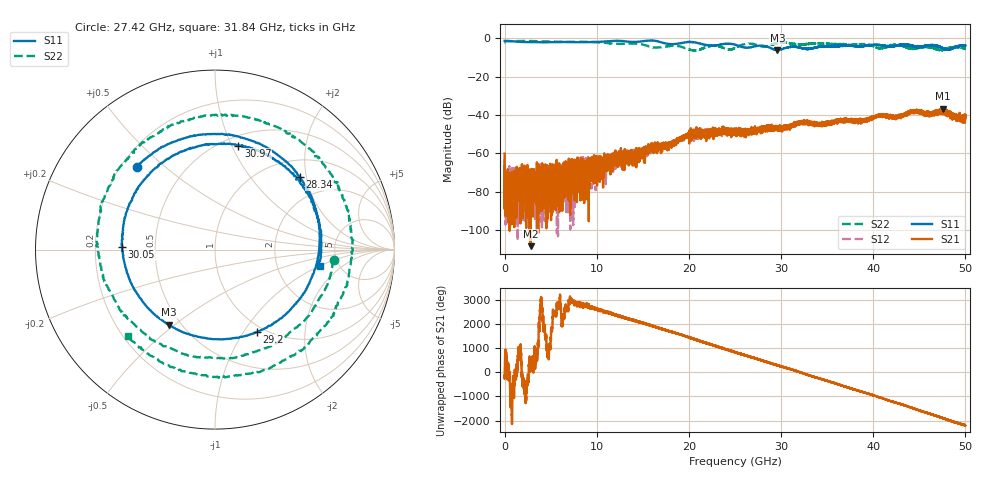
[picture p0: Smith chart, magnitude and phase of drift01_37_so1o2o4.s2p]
!Created with skrf (http://scikit-rf.org).
# Hz S RI R 50.0
!freq ReS11 ImS11 ReS21 ImS21 ReS12 ImS12 ReS22 ImS22
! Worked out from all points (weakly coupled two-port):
!   10001 points, 300 kHz to 50 GHz, reference 50 ohm
!   highest |S21| = -36.78 dB at 47.53 GHz (marker M1); lowest = -108.4 dB at 2.825 GHz (marker M2)
!   lowest |S11| = -6.2 dB at 29.61 GHz (marker M3), VSWR 2.93, Z = 21.6 - j23.8 ohm
!   |S11| at or under -10 dB: nowhere
!   |S22| runs from -6.4 to -1.4 dB; largest |S21 - S12| = 0.0041
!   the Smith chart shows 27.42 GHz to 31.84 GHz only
!   S11 on the Smith chart (normalised r, x): 27.42 GHz: 0.26, +0.41; 28.34 GHz: 1.39, +1.83; 29.2 GHz: 0.92, -1.15; 30.05 GHz: 0.32, +0.01; 30.97 GHz: 0.59, +1.06; 31.84 GHz: 3.58, -0.98
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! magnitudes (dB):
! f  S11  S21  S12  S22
! 300 kHz  -1.3  -60.2  -63.0  -2.1
! 255.3 MHz  -1.4  -80.4  -77.6  -1.4
! 345.3 MHz  -1.4  -68.2  -72.7  -1.4
! 2.825 GHz  -2.0  -108.4  -71.4  -1.4
! 6.88 GHz  -1.9  -76.6  -74.3  -1.9
! 8.335 GHz  -2.0  -68.9  -67.4  -1.8
! 16.67 GHz  -1.6  -58.5  -56.8  -4.8
! 18.62 GHz  -2.9  -54.7  -54.2  -3.9
! 20.3 GHz  -1.9  -48.8  -50.9  -6.2
! 22.61 GHz  -3.8  -48.5  -49.9  -3.8
! 25 GHz  -3.3  -49.5  -48.0  -5.1
! 27.42 GHz  -3.9  -46.7  -48.3  -3.6
! 28.34 GHz  -4.1  -47.7  -47.4  -4.2
! 29.2 GHz  -5.8  -46.3  -47.2  -3.1
! 29.61 GHz  -6.2  -47.1  -47.0  -2.5
! 30.05 GHz  -5.7  -48.0  -47.4  -2.3
! 30.97 GHz  -4.5  -47.2  -45.2  -2.5
! 31.84 GHz  -4.6  -44.0  -44.3  -3.3
! 33.34 GHz  -5.2  -44.6  -44.7  -2.7
! 41.67 GHz  -4.3  -40.5  -40.7  -4.3
! 47.53 GHz  -5.1  -36.8  -38.3  -6.0
! 50 GHz  -3.8  -40.8  -41.9  -5.4
